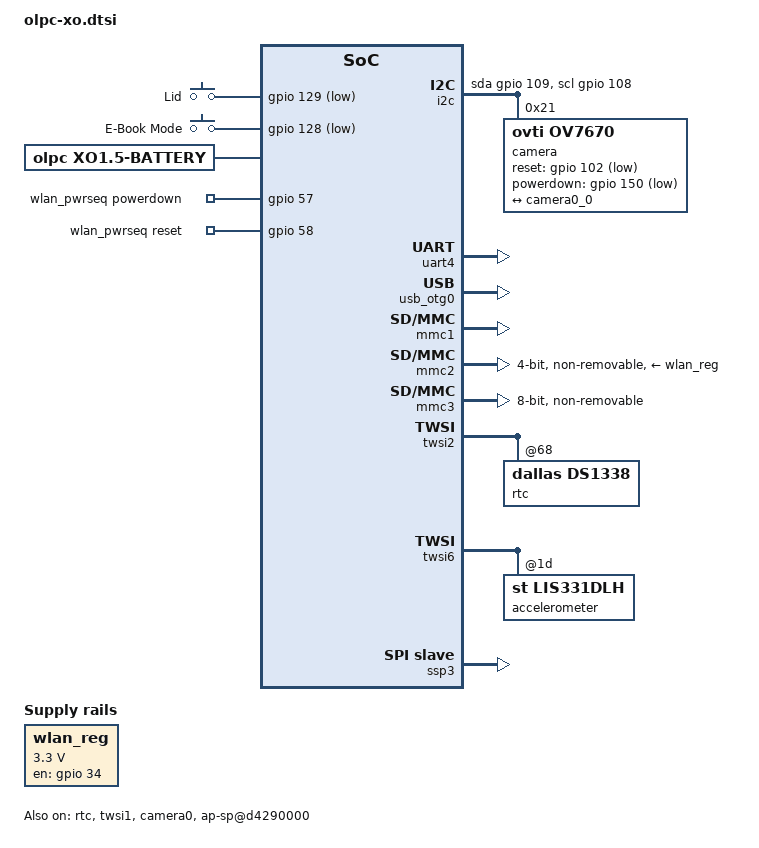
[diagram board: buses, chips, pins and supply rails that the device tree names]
// SPDX-License-Identifier: GPL-2.0-or-later OR MIT
/*
 * Common bits for Arm-based OLPC XO laptops.
 *
 * Copyright (C) 2018,2019,2021 Lubomir Rintel <lkundrak@v3.sk>
 */

#include <dt-bindings/gpio/gpio.h>
#include <dt-bindings/input/linux-event-codes.h>
#include <dt-bindings/interrupt-controller/irq.h>

/ {
	chosen {
		#address-cells = <1>;
		#size-cells = <1>;
		ranges;
	};

	memory {
		device_type = "memory";
	};

	gpio-keys {
		compatible = "gpio-keys";

		lid {
			label = "Lid";
			gpios = <&gpio 129 GPIO_ACTIVE_LOW>;
			linux,input-type = <EV_SW>;
			linux,code = <SW_LID>;
			wakeup-source;
		};

		tablet_mode {
			label = "E-Book Mode";
			gpios = <&gpio 128 GPIO_ACTIVE_LOW>;
			linux,input-type = <EV_SW>;
			linux,code = <SW_TABLET_MODE>;
			wakeup-source;
		};
	};

	i2c {
		compatible = "i2c-gpio";
		sda-gpios = <&gpio 109 (GPIO_ACTIVE_HIGH | GPIO_OPEN_DRAIN)>;
		scl-gpios = <&gpio 108 (GPIO_ACTIVE_HIGH | GPIO_OPEN_DRAIN)>;
		#address-cells = <1>;
		#size-cells = <0>;
		i2c-gpio,timeout-ms = <1000>;
		status = "okay";

		camera@21 {
			compatible = "ovti,ov7670";
			reg = <0x21>;
			reset-gpios = <&gpio 102 GPIO_ACTIVE_LOW>;
			powerdown-gpios = <&gpio 150 GPIO_ACTIVE_LOW>;
			clocks = <&camera0>;
			clock-names = "xclk";

			port {
				ov7670_0: endpoint {
					hsync-active = <1>;
					vsync-active = <1>;
					remote-endpoint = <&camera0_0>;
				};
			};
		};
	};

	battery {
		compatible = "olpc,xo1.5-battery", "olpc,xo1-battery";
	};

	wlan_reg: fixedregulator0 {
		compatible = "regulator-fixed";
		regulator-name = "wlan";
		regulator-min-microvolt = <3300000>;
		regulator-max-microvolt = <3300000>;
		gpio = <&gpio 34 GPIO_ACTIVE_HIGH>;
		enable-active-high;
	};

	wlan_pwrseq: pwrseq0 {
		compatible = "mmc-pwrseq-sd8787";
		powerdown-gpios = <&gpio 57 GPIO_ACTIVE_HIGH>;
		reset-gpios = <&gpio 58 GPIO_ACTIVE_HIGH>;
	};

	soc {
		axi@d4200000 {
			ap-sp@d4290000 {
				#address-cells = <1>;
				#size-cells = <0>;
				compatible = "olpc,ap-sp";
				interrupts = <40>;
				reg = <0xd4290000 0x1000>;
				data-gpios = <&gpio 72 GPIO_ACTIVE_HIGH>;
				clk-gpios = <&gpio 71 GPIO_ACTIVE_HIGH>;
				status = "okay";
			};
		};
	};
};

&uart4 {
	status = "okay";
};

&rtc {
	status = "okay";
};

&usb_otg0 {
	status = "okay";
};

&mmc1 {
	clock-frequency = <50000000>;
	no-1-8-v;
	mrvl,clk-delay-cycles = <31>;
	broken-cd;
	status = "okay";
};

&mmc2 {
	clock-frequency = <50000000>;
	no-1-8-v;
	bus-width = <4>;
	non-removable;
	broken-cd;
	wakeup-source;
	keep-power-in-suspend;
	mmc-pwrseq = <&wlan_pwrseq>;
	vmmc-supply = <&wlan_reg>;
	status = "okay";
};

&mmc3 {
	clock-frequency = <50000000>;
	no-1-8-v;
	bus-width = <8>;
	non-removable;
	broken-cd;
	mrvl,clk-delay-cycles = <31>;
	status = "okay";
};

&twsi1 {
	status = "okay";
};

&twsi2 {
	status = "okay";

	rtc@68 {
		compatible = "dallas,ds1338";
		reg = <0x68>;
		status = "okay";
	};
};

&twsi6 {
	status = "okay";

	accelerometer@1d {
		compatible = "st,lis331dlh", "st,lis3lv02d";
		reg = <0x1d>;
		status = "okay";
	};
};

&ssp3 {
	#address-cells = <0>;
	spi-slave;
	status = "okay";
	ready-gpios = <&gpio 125 GPIO_ACTIVE_HIGH>;

	slave {
		compatible = "olpc,xo1.75-ec";
		spi-cpha;
		cmd-gpios = <&gpio 155 GPIO_ACTIVE_HIGH>;
	};
};

&camera0 {
	status = "okay";

	port {
		camera0_0: endpoint {
			remote-endpoint = <&ov7670_0>;
		};
	};
};
